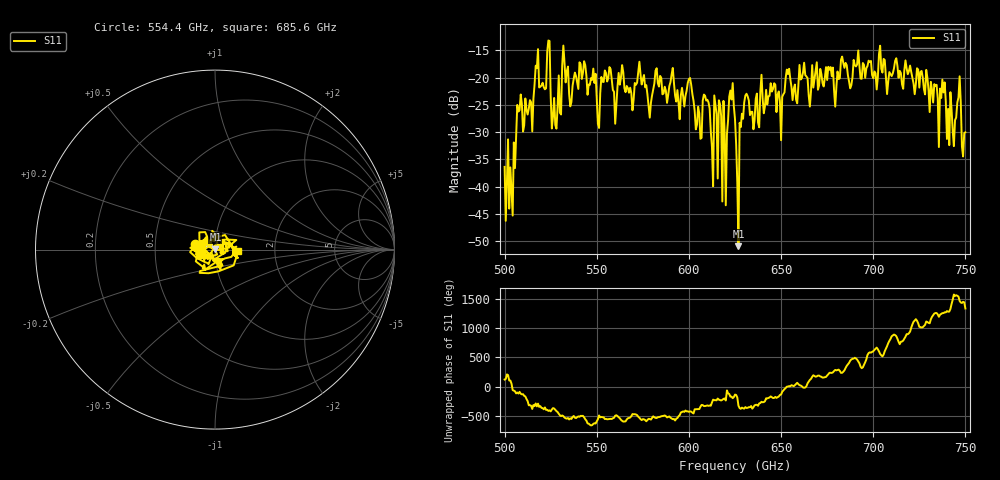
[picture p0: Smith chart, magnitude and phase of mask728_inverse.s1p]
!Created with skrf (http://scikit-rf.org).
# GHz S MA R 50.0
!freq magS11 angS11
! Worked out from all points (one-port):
!   401 points, 500 GHz to 750 GHz, reference 50 ohm
!   lowest |S11| = -50.9 dB at 626.9 GHz (marker M1), VSWR 1.01, Z = 50.2 + j0.151 ohm
!   |S11| at or under -10 dB: start of sweep to end of sweep
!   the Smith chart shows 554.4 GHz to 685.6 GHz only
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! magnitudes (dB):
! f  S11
! 500 GHz  -36.4
! 503.8 GHz  -40.7
! 508.1 GHz  -26.0
! 513.8 GHz  -24.1
! 517.5 GHz  -18.3
! 523.8 GHz  -13.2
! 526.9 GHz  -23.7
! 531.2 GHz  -17.8
! 542.5 GHz  -19.1
! 551.2 GHz  -29.2
! 562.5 GHz  -21.3
! 593.8 GHz  -22.3
! 600.6 GHz  -20.1
! 605.6 GHz  -26.6
! 609.4 GHz  -24.2
! 611.9 GHz  -29.9
! 619.4 GHz  -30.1
! 622.5 GHz  -22.4
! 625 GHz  -27.6
! 626.9 GHz  -50.9
! 631.2 GHz  -23.0
! 656.2 GHz  -24.1
! 687.5 GHz  -22.0
! 718.8 GHz  -19.4
! 737.5 GHz  -20.4
! 742.5 GHz  -25.9
! 746.2 GHz  -23.7
! 750 GHz  -30.0
